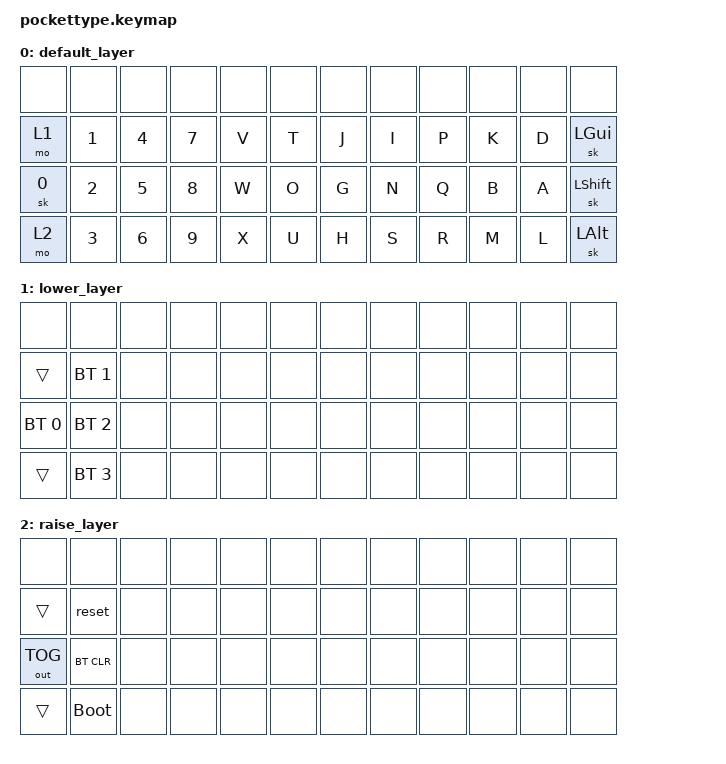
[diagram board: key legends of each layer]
/*
 * Copyright (c) 2020 The ZMK Contributors
 *
 * SPDX-License-Identifier: MIT
 */

#include <behaviors.dtsi>
#include <dt-bindings/zmk/keys.h>
#include <dt-bindings/zmk/bt.h>
#include <dt-bindings/zmk/outputs.h>


/ {
	keymap {
		compatible = "zmk,keymap";
		
		default_layer {
			bindings = <
				&none   &none    &none    &none    &none   &none   &none   &none   &none   &none   &none   &none
				&mo 1   &kp N1   &kp N4   &kp N7   &kp V   &kp T   &kp J   &kp I   &kp P   &kp K   &kp D   &sk LEFT_GUI 
				&sk N0  &kp N2   &kp N5   &kp N8   &kp W   &kp O   &kp G   &kp N   &kp Q   &kp B   &kp A   &sk LSHFT
				&mo 2   &kp N3   &kp N6   &kp N9   &kp X   &kp U   &kp H   &kp S   &kp R   &kp M   &kp L   &sk LALT
			>;
		};

		lower_layer {
			bindings = <
				&none   &none   &none   &none   &none   &none   &none   &none   &none   &none   &none   &none
				&trans  &bt BT_SEL 1 &none &none  &none   &none   &none   &none   &none   &none   &none   &none
				&bt BT_SEL 0 &bt BT_SEL 2  &none  &none   &none   &none   &none   &none   &none   &none   &none   &none
				&trans  &bt BT_SEL 3 &none &none  &none   &none   &none   &none   &none   &none   &none   &none
			>;
		};

		raise_layer {
			bindings = <
				&none   &none   &none   &none   &none   &none   &none   &none   &none   &none   &none   &none
				&trans  &reset  &none   &none   &none   &none   &none   &none   &none   &none   &none   &none
				&out OUT_TOG  &bt BT_CLR &none  &none   &none   &none   &none   &none   &none   &none   &none   &none
				&trans  &bootloader     &none   &none   &none   &none   &none   &none   &none   &none   &none   &none
			>;
		};
	};
};
